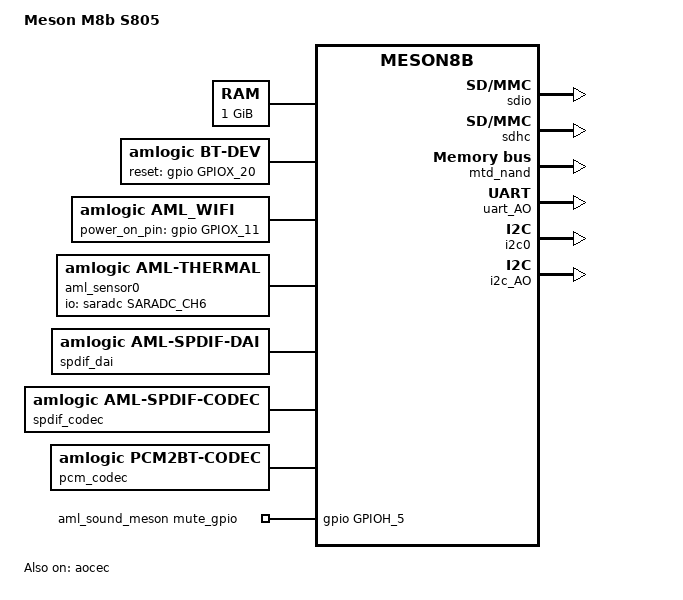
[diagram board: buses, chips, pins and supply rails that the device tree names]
/*
 * arch/arm/boot/dts/amlogic/meson8b_m200.dts
 *
 * Copyright (C) 2017 Amlogic, Inc. All rights reserved.
 *
 * This program is free software; you can redistribute it and/or modify
 * it under the terms of the GNU General Public License as published by
 * the Free Software Foundation; either version 2 of the License, or
 * (at your option) any later version.
 *
 * This program is distributed in the hope that it will be useful, but WITHOUT
 * ANY WARRANTY; without even the implied warranty of MERCHANTABILITY or
 * FITNESS FOR A PARTICULAR PURPOSE.  See the GNU General Public License for
 * more details.
 *
 */

/dts-v1/;
#include "meson8b.dtsi"

/ {
	model = "Meson M8b S805";
	compatible = "amlogic,meson8b";

	aliases {
		serial0 = &uart_AO;
	};

	memory {
		reg = <0x00000000 0x40000000>;
		linux,usable-memory = <0x00200000 0x1fe00000>;
	};

	reserved-memory {
		#address-cells = <1>;
		#size-cells = <1>;
		ranges;

		pm_reserved:linux,pm {
			compatible = "amlogic, pm-m8b-reserve";
			reg = <0x04f00000 0x100000>;
		};

		secos_reserved:linux,secos {
			status = "disabled";
			compatible = "amlogic, aml_secos_memory";
			reg = <0x06100000 0x3000000>;
			no-map;
		};
	};

	bt-dev{
		compatible = "amlogic, bt-dev";
		dev_name = "bt-dev";
		status = "okay";
		gpio_reset =  <&gpio       GPIOX_20       GPIO_ACTIVE_HIGH>;
	};
	wifi{
		compatible = "amlogic, aml_wifi";
		dev_name = "aml_wifi";
		status = "okay";
		interrupt_pin = <&gpio       GPIOX_21       GPIO_ACTIVE_HIGH>;
		interrupts = <  0 68 4>;
		irq_trigger_type = "GPIO_IRQ_HIGH";
		power_on_pin = <&gpio       GPIOX_11       GPIO_ACTIVE_HIGH>;
	};

	sdio {
		compatible = "amlogic, aml_sdio";
		dev_name = "aml_sdio.0";
		status = "okay";
		interrupts = <0 28 1>;
		reg = <0xc1108c20 0x20>;
		pinctrl-names = "sd_clk_cmd_pins",
			"sd_all_pins",
			"emmc_clk_cmd_pins",
			"emmc_all_pins",
			"sdio_clk_cmd_pins",
			"sdio_all_pins",
			"sd_1bit_pins";
		pinctrl-0 = <&sd_clk_cmd_pins>;
		pinctrl-1 = <&sd_all_pins>;
		pinctrl-2 = <&emmc_clk_cmd_pins>;
		pinctrl-3 = <&emmc_all_pins>;
		pinctrl-4 = <&sdio_clk_cmd_pins>;
		pinctrl-5 = <&sdio_all_pins>;
		pinctrl-6 = <&sd_1bit_pins>;
		clocks = <&clkc CLKID_SDIO>;
		clock-names = "core";

		sd {
			status = "okay";
			port = <1>;
			/* 0:sdio_a,
			 * 1:sdio_b,
			 * 2:sdio_c,
			 * 3:sdhc_a,
			 * 4:sdhc_b,
			 * 5:sdhc_c
			 */
			pinname = "sd";
			ocr_avail = <0x200000>; /**VDD voltage 3.3 ~ 3.4 */
			caps = "MMC_CAP_4_BIT_DATA",
				 "MMC_CAP_MMC_HIGHSPEED",
				 "MMC_CAP_SD_HIGHSPEED";
			f_min = <300000>;
			f_max = <50000000>;
			f_max_w = <50000000>;
			max_req_size = <0x20000>; /*128KB*/
			gpio_dat3 = <&gpio CARD_4 GPIO_ACTIVE_HIGH>;
			jtag_pin = <&gpio CARD_0 GPIO_ACTIVE_HIGH>;
			gpio_cd = <&gpio CARD_6 GPIO_ACTIVE_HIGH>;
			/*gpio_ro = <&gpio GPIODV_25 GPIO_ACTIVE_HIGH>;*/
			card_type = <5>;
			/* 0:unknown,
			 * 1:mmc card(include eMMC),
			 * 2:sd card(include tSD),
			 * 3:sdio device(ie:sdio-wifi),
			 * 4:SD combo (IO+mem) card,
			 * 5:NON sdio device(means sd/mmc card),
			 * other:reserved
			 */
		};
	};

	sdhc {
		compatible = "amlogic, aml_sdhc";
		dev_name = "aml_sdhc.0";
		status = "okay";
		interrupts = <0 78 1>;
		reg = <0xc1108e00 0x3c>;
		pinctrl-names = "sdhc_sd_clk_cmd_pins",
			"sdhc_sd_all_pins",
			"sdhc_emmc_clk_cmd_pins",
			"sdhc_emmc_all_pins",
			"sdhc_sdio_clk_cmd_pins",
			"sdhc_sdio_all_pins";
		pinctrl-0 = <&sdhc_sd_clk_cmd_pins>;
		pinctrl-1 = <&sdhc_sd_all_pins>;
		pinctrl-2 = <&sdhc_emmc_clk_cmd_pins>;
		pinctrl-3 = <&sdhc_emmc_all_pins>;
		pinctrl-4 = <&sdhc_sdio_clk_cmd_pins>;
		pinctrl-5 = <&sdhc_sdio_all_pins>;
		clocks = <&clkc CLKID_SDHC>,
			   <&clkc CLKID_FCLK_DIV3>;
		clock-names = "core", "div3";

		sdio {
			status = "okay";
			port = <3>;
			/* 0:sdio_a,
			 * 1:sdio_b,
			 * 2:sdio_c,
			 * 3:sdhc_a,
			 * 4:sdhc_b,
			 * 5:sdhc_c
			 */
			pinname = "sdio";
			ocr_avail = <0x00200080>;
			/* 3.3:0x200000, 1.8+3.3:0x00200080 */
			caps = "MMC_CAP_4_BIT_DATA",
				 "MMC_CAP_MMC_HIGHSPEED",
				 "MMC_CAP_SD_HIGHSPEED",
				 "MMC_CAP_NONREMOVABLE",
				 "MMC_CAP_UHS_SDR12",
				 "MMC_CAP_UHS_SDR25",
				 "MMC_CAP_UHS_SDR50",
				 "MMC_CAP_UHS_SDR104",
				 "MMC_PM_KEEP_POWER";
			f_min = <300000>;
			f_max = <100000000>;
			max_req_size = <0x20000>; /* 128KB */
			card_type = <3>;
			/* 0:unknown,
			 * 1:mmc card(include eMMC),
			 * 2:sd card(include tSD),
			 * 3:sdio device(ie:sdio-wifi),
			 * 4:SD combo (IO+mem) card,
			 * 5:NON sdio device(means sd/mmc card),
			 * other:reserved
			 */
		};
	};

	unifykey{
		compatible = "amlogic, unifykey-m8b";
		status = "ok";

		unifykey-num = <6>;
		unifykey-index-0 = <&keysn_0>;
		unifykey-index-1 = <&keysn_1>;
		unifykey-index-2 = <&keysn_2>;
		unifykey-index-3 = <&keysn_3>;
		unifykey-index-4 = <&keysn_4>;
		unifykey-index-5 = <&keysn_5>;

		keysn_0: key_0{
			key-name = "usid";
			key-device = "nandkey";
			key-dataformat = "allascii";
			key-permit = "read","write","del";
		};
		keysn_1:key_1{
			key-name = "mac";
			key-device  = "nandkey";
			key-dataformat = "hexdata";
			key-permit = "read","write","del";
		};
		keysn_2:key_2{
			key-name = "hdcp";
			key-device = "nandkey";
			key-dataformat = "hexdata";
			key-permit = "read","write","del";
		};
		keysn_3:key_3{
			key-name = "secure_boot_set";
			key-device = "efusekey";
			key-dataformat = "hexdata";
			key-permit = "read","write";
		};
		keysn_4:key_4{
			key-name = "mac_bt";
			key-device = "nandkey";
			key-dataformat = "hexdata";
			key-permit = "read","write","del";
		};
		keysn_5:key_5{
			key-name = "mac_wifi";
			key-device = "nandkey";
			key-dataformat = "hexdata";
			key-permit = "read","write","del";
		};
	};//End unifykey
	mtd_nand{
		compatible = "amlogic, aml_mtd_nand";
		dev_name = "mtdnand";
		status = "okay";
		reg = <0xd0048600 0x24>;
		/*interrupts = <	0 34 1 >;*/
		pinctrl-names = "nand_rb_mod","nand_norb_mod", "nand_cs_only";
		pinctrl-0 = <&all_nand_pins>;
		pinctrl-1 = <&all_nand_pins>;
		pinctrl-2 = <&nand_cs_pins>;
		clocks = <&clkc CLKID_NAND>,
			<&clkc CLKID_NAND_CORE_COMP>;
		clock-names = "clk81", "core";
		device_id = <0>;
		plat-names = "bootloader","nandnormal";
		plat-num = <2>;
		plat-part-0 = <&bootloader>;
		plat-part-1 = <&nandnormal>;
		bootloader: bootloader{
			enable_pad ="ce0";
			busy_pad = "rb0";
			timming_mode = "mode5";
			bch_mode = "bch60_1k";
			t_rea = <20>;
			t_rhoh = <15>;
			chip_num = <1>;
			part_num = <0>;
			rb_detect = <1>;
		};
		nandnormal: nandnormal{
			enable_pad ="ce0","ce1";
			busy_pad = "rb0","rb1";
			timming_mode = "mode5";
			bch_mode = "bch60_1k";
			plane_mode = "twoplane";
			t_rea = <20>;
			t_rhoh = <15>;
			chip_num = <2>;
			part_num = <3>;
			partition = <&nand_partitions>;
			rb_detect = <1>;
		};
		nand_partitions:nand_partition{
			boot{
				offset=<0x0 0x0>;
				size=<0x0 0x900000>;
			};
			upgrade{
				offset=<0x0 0x0>;
				size=<0x0 0x9800000>;
			};
			boot1{
				offset=<0x0 0x0>;
				size=<0x0 0x900000>;
			};
			userdata{
				offset=<0xffffffff 0xffffffff>;
				size=<0x0 0x0>;
			};
		};
	};
	cpufreq-meson{
		compatible = "amlogic, cpufreq-meson";
		status = "okay";
		fixpll_target = <1536000>;
		clocks = <&clkc CLKID_CPUCLK>,
			 <&clkc CLKID_PLL_SYS>;
		clock-names = "cpu_clk", "sys_clk";
		opp_table = <
			/* frequent(Khz)    uV    */
				  96000	 860000
				 312000	 860000
				 504000	 860000
				 600000	 860000
				 720000	 860000
				 816000	 900000
				1008000	1140000
				1200000	1140000
				1320000	1140000
				1488000	1140000
				1536000	1140000
			>;
	};

	dvfs {
		compatible = "amlogic, amlogic-dvfs";
		status = "okay";
		vcck_dvfs {
			dvfs_id = <1>;
		};
	};

	pmu {
		compatible = "amlogic, aml_pmu_prober";
		#address-cells = <1>;
		#size-cells = <0>;
		status = "okay";
		aml1218 {
			compatible = "amlogic, amlogic_pmu";
			sub_type = "aml1218_pmu";
			i2c_bus = "i2c_bus_ao";
			slave_address = <0x35>;
			status = "okay";
		};
	};

	aocec: aocec{
		compatible = "amlogic, amlogic-aocec";
		device_name = "aocec";
		status = "okay";
		vendor_id = <0x000000>;
		cec_osd_string = "MBox"; /* Max Chars: 14    */
		cec_version = <6>; /* 5: 1.4, 6: 2.0 */
		port_num = <1>;
		arc_port_mask = <0x0>;
		interrupts = <0 151 1>;
		interrupt-names = "hdmi_aocec";
		pinctrl-names = "hdmi_cec_1";
		pinctrl-0=<&hdmi_cec_1>;
		reg = <0xc8100000 0x200>;
	};

	aml_sensor0: aml-sensor@0 {
		compatible = "amlogic, aml-thermal";
		device_name = "thermal";
		#thermal-sensor-cells = <1>;
		io-channels = <&saradc SARADC_CH6>;
		io-channel-names = "TEMP_CHAN";
		cooling_devices {
			cpufreq_cool_cluster0 {
				min_state = <768000>;
				dyn_coeff = <110>;
				cluster_id = <0>;
				node_name = "cpufreq_cool0";
				device_type = "cpufreq";
			};
			cpucore_cool_cluster0 {
				min_state = <1>;
				dyn_coeff = <0>;
				cluster_id = <0>;
				node_name = "cpucore_cool0";
				device_type = "cpucore";
			};
			gpufreq_cool {
				min_state = <318>;
				dyn_coeff = <437>;
				cluster_id = <0>;
				node_name = "gpufreq_cool0";
				device_type = "gpufreq";
			};
			gpucore_cool {
				min_state = <1>;
				dyn_coeff = <0>;
				cluster_id = <0>;
				node_name = "gpucore_cool0";
				device_type = "gpucore";
			};
		};
		cpufreq_cool0:cpufreq_cool0 {
			#cooling-cells = <2>; /* min followed by max */
		};
		cpucore_cool0:cpucore_cool0 {
			#cooling-cells = <2>; /* min followed by max */
		};
		gpufreq_cool0:gpufreq_cool0 {
			#cooling-cells = <2>; /* min followed by max */
		};
		gpucore_cool0:gpucore_cool0 {
			#cooling-cells = <2>; /* min followed by max */
		};
	};
	thermal-zones {
		soc_thermal {
			polling-delay = <1000>;
			polling-delay-passive = <100>;
			sustainable-power = <1350>;

			thermal-sensors = <&aml_sensor0 3>;

			trips {
				switch_on: trip-point@0 {
					temperature = <70000>;
					hysteresis = <1000>;
					type = "passive";
				};
				control: trip-point@1 {
					temperature = <80000>;
					hysteresis = <1000>;
					type = "passive";
				};
				hot: trip-point@2 {
					temperature = <85000>;
					hysteresis = <5000>;
					type = "hot";
				};
				critical: trip-point@3 {
					temperature = <260000>;
					hysteresis = <1000>;
					type = "critical";
				};
			};

			cooling-maps {
				cpufreq_cooling_map {
					trip = <&control>;
					cooling-device = <&cpufreq_cool0 0 4>;
					contribution = <1024>;
				};
				cpucore_cooling_map {
					trip = <&control>;
					cooling-device = <&cpucore_cool0 0 3>;
					contribution = <1024>;
				};
				gpufreq_cooling_map {
					trip = <&control>;
					cooling-device = <&gpufreq_cool0 0 4>;
					contribution = <1024>;
				};
				gpucore_cooling_map {
					trip = <&control>;
					cooling-device = <&gpucore_cool0 0 2>;
					contribution = <1024>;
				};
			};
		};
	};
	/* AUDIO MESON DEVICES */
	i2s_dai: I2S {
		#sound-dai-cells = <0>;
		compatible = "amlogic, aml-i2s-dai";
		clocks =
			<&clkc CLKID_MPLL2>,
			<&clkc CLKID_AMCLK_COMP>,
			<&clkc CLKID_AIU_GLUE>,
			<&clkc CLKID_IEC958>,
			<&clkc CLKID_I2S_OUT>,
			<&clkc CLKID_AMCLK>,
			<&clkc CLKID_AIFIFO2>,
			<&clkc CLKID_MIXER>,
			<&clkc CLKID_MIXER_IFACE>,
			<&clkc CLKID_ADC>,
			<&clkc CLKID_AIU>,
			<&clkc CLKID_AOCLK_GATE>,
			<&clkc CLKID_I2S_SPDIF>;
		clock-names =
			"mpll2",
			"mclk",
			"top_glue",
			"aud_buf",
			"i2s_out",
			"amclk_measure",
			"aififo2",
			"aud_mixer",
			"mixer_reg",
			"adc",
			"top_level",
			"aoclk",
			"aud_in";
		/*DMIC;*/  /* I2s Mic or Dmic, default for I2S mic */
	};
	spdif_dai: SPDIF {
		#sound-dai-cells = <0>;
		compatible = "amlogic, aml-spdif-dai";
		clocks =
			<&clkc CLKID_MPLL1>,
			<&clkc CLKID_I958_COMP>,
			<&clkc CLKID_AMCLK_COMP>,
			<&clkc CLKID_I958_COMP_SPDIF>,
			<&clkc CLKID_CLK81>,
			<&clkc CLKID_IEC958>,
			<&clkc CLKID_IEC958_GATE>;
		clock-names =
			"mpll1",
			"i958",
			"mclk",
			"spdif",
			"clk_81",
			"iec958",
			"iec958_amclk";
	};
	pcm_dai: PCM {
		#sound-dai-cells = <0>;
		compatible = "amlogic, aml-pcm-dai";
		pinctrl-names = "aml_audio_pcm";
		pinctrl-0 = <&audio_pcm_pins>;
		clocks =
			<&clkc CLKID_MPLL0>,
			<&clkc CLKID_PCM_MCLK_COMP>,
			<&clkc CLKID_PCM_SCLK_GATE>;
		clock-names =
			"mpll0",
			"pcm_mclk",
			"pcm_sclk";
		pcm_mode = <1>; /* 0=slave mode, 1=master mode */
	};
	i2s_plat: i2s_platform {
		compatible = "amlogic, aml-i2s";
		interrupts = <0 29 1>;
	};
	pcm_plat: pcm_platform {
		compatible = "amlogic, aml-pcm";
	};
	spdif_codec: spdif_codec {
		#sound-dai-cells = <0>;
		compatible = "amlogic, aml-spdif-codec";
		pinctrl-names = "aml_audio_spdif";
		pinctrl-0 = <&audio_spdif_pins>;
	};
	pcm_codec: pcm_codec {
		#sound-dai-cells = <0>;
		compatible = "amlogic, pcm2BT-codec";
	};
	/* endof AUDIO MESON DEVICES */

	/* AUDIO board specific */
	dummy_codec:dummy {
		#sound-dai-cells = <0>;
		compatible = "amlogic, aml_dummy_codec";
		status = "okay";
	};
	amlogic_codec:t9015 {
		#sound-dai-cells = <0>;
		compatible = "amlogic, aml_codec_T9015";
		reg = <0x0 0xc8832000 0x0 0x14>;
		status = "disabled";
	};
	audio_pmu3_codec:aml_pmu3 {
		#sound-dai-cells = <0>;
		compatible = "amlogic, aml_pmu3_codec";
		status = "disabled";
	};
	aml_sound_meson {
		compatible = "aml, meson-snd-card";
		status = "okay";
		aml-sound-card,format = "i2s";
		aml_sound_card,name = "AML-MESONAUDIO";
		aml,audio-routing =
				"Ext Spk","LOUTL",
				"Ext Spk","LOUTR";

		mute_gpio-gpios = <&gpio GPIOH_5 0>;
		mute_inv;
		hp_disable;
		i2sclk_disable_startup;
		hp_paraments = <800 300 0 5 1>;
		pinctrl-names = "aml_audio_i2s";
		pinctrl-0 = <&audio_i2s_pins>;
		cpu_list = <&cpudai0 &cpudai1 &cpudai2>;
		codec_list = <&codec0 &codec1 &codec2>;
		plat_list = <&i2s_plat &i2s_plat &pcm_plat>;
		cpudai0: cpudai0 {
			sound-dai = <&i2s_dai>;
		};
		cpudai1: cpudai1 {
			sound-dai = <&spdif_dai>;
		};
		cpudai2: cpudai2 {
			sound-dai = <&pcm_dai>;
		};
		codec0: codec0 {
			sound-dai = <&dummy_codec>;
		};
		codec1: codec1 {
			sound-dai = <&spdif_codec>;
		};
		codec2: codec2 {
			sound-dai = <&pcm_codec>;
		};
	};
	/* END OF AUDIO board specific */
};

&uart_AO {
	status = "okay";
	pinctrl-0 = <&uart_ao_a_pins>;
	pinctrl-names = "default";
};
&i2c0 {
	status = "ok";
};
&i2c_AO {
	status = "ok";
};
